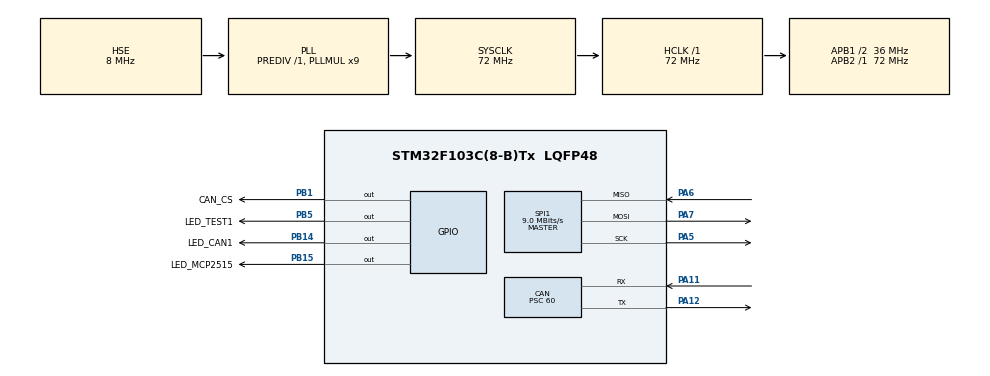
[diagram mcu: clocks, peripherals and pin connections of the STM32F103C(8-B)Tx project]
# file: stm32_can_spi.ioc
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CAN.BS1=CAN_BS1_10TQ
CAN.BS2=CAN_BS2_7TQ
CAN.CalculateTimeBit=30000
CAN.CalculateTimeQuantum=1666.6666666666667
CAN.NART=ENABLE
CAN.Prescaler=60
CAN.SJW=CAN_SJW_1TQ
Mcu.Family=STM32F1
Mcu.Name=STM32F103C(8-B)Tx
Mcu.Package=LQFP48
NVIC.CAN1_RX1_IRQn=true\:0\:0\:false\:false\:true\:true\:true
NVIC.PriorityGroup=NVIC_PRIORITYGROUP_4
PA11.Mode=Master
PA11.Signal=CAN_RX
PA12.Mode=Master
PA12.Signal=CAN_TX
PA5.Mode=Full_Duplex_Master
PA5.Signal=SPI1_SCK
PA6.Mode=Full_Duplex_Master
PA6.Signal=SPI1_MISO
PA7.Mode=Full_Duplex_Master
PA7.Signal=SPI1_MOSI
PB1.GPIO_Label=CAN_CS
PB1.GPIO_Speed=GPIO_SPEED_FREQ_MEDIUM
PB1.PinState=GPIO_PIN_SET
PB1.Signal=GPIO_Output
PB14.GPIO_Label=LED_CAN1
PB14.Signal=GPIO_Output
PB15.GPIO_Label=LED_MCP2515
PB15.Signal=GPIO_Output
PB5.GPIO_Label=LED_TEST1
PB5.Signal=GPIO_Output
PC14-OSC32_IN.Mode=LSE-External-Oscillator
PC14-OSC32_IN.Signal=RCC_OSC32_IN
PC15-OSC32_OUT.Mode=LSE-External-Oscillator
PC15-OSC32_OUT.Signal=RCC_OSC32_OUT
PD0-OSC_IN.Mode=HSE-External-Oscillator
PD0-OSC_IN.Signal=RCC_OSC_IN
PD1-OSC_OUT.Mode=HSE-External-Oscillator
PD1-OSC_OUT.Signal=RCC_OSC_OUT
ProjectManager.HeapSize=0x200
ProjectManager.StackSize=0x400
ProjectManager.TargetToolchain=Makefile
RCC.AHBFreq_Value=72000000
RCC.APB1CLKDivider=RCC_HCLK_DIV2
RCC.APB1Freq_Value=36000000
RCC.APB1TimFreq_Value=72000000
RCC.APB2Freq_Value=72000000
RCC.APB2TimFreq_Value=72000000
RCC.EnbaleCSS=true
RCC.HCLKFreq_Value=72000000
RCC.PLLMUL=RCC_PLL_MUL9
RCC.PLLSourceVirtual=RCC_PLLSOURCE_HSE
RCC.SYSCLKFreq_VALUE=72000000
RCC.SYSCLKSource=RCC_SYSCLKSOURCE_PLLCLK
RCC.USBFreq_Value=72000000
SPI1.BaudRatePrescaler=SPI_BAUDRATEPRESCALER_8
SPI1.CalculateBaudRate=9.0 MBits/s
SPI1.Direction=SPI_DIRECTION_2LINES
SPI1.Mode=SPI_MODE_MASTER
SPI1.VirtualType=VM_MASTER
VP_SYS_VS_ND.Mode=No_Debug
board=custom

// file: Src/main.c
/* USER CODE BEGIN Header */
/**
  ******************************************************************************
  * @file           : main.c
  * @brief          : Main program body
  ******************************************************************************
  * @attention
  *
  * <h2><center>&copy; Copyright (c) 2020 STMicroelectronics.
  * All rights reserved.</center></h2>
  *
  * This software component is licensed by ST under BSD 3-Clause license,
  * the "License"; You may not use this file except in compliance with the
  * License. You may obtain a copy of the License at:
  *                        opensource.org/licenses/BSD-3-Clause
  *
  ******************************************************************************
  */
/* USER CODE END Header */

#include "main.h"

/* USER CODE BEGIN Includes */
#include "CANSPI.h"
/* USER CODE END Includes */

CAN_HandleTypeDef hcan;

SPI_HandleTypeDef hspi1;

/* USER CODE BEGIN PV */
uCAN_MSG txMessage;
uCAN_MSG rxMessage;

CAN_TxHeaderTypeDef TxHeader;
CAN_RxHeaderTypeDef RxHeader;
uint8_t             TxData[8];
uint8_t             RxData[8];
uint32_t            TxMailbox;
uint32_t            RcvData = 0;
uint32_t            td = 0x67;
uint8_t             ERR = 0;

uint8_t Can_TxMessage(uint8_t ide,uint32_t id,uint8_t len,uint8_t *data);
/* USER CODE END PV */

void SystemClock_Config(void);
static void MX_GPIO_Init(void);
static void MX_CAN_Init(void);
static void MX_SPI1_Init(void);

int main(void)
{
  /* USER CODE BEGIN 1 */
  uint8_t data[8]={1,2,3,4,5,6,7,8};//Define the send array
  /* USER CODE END 1 */

  /* MCU Configuration--------------------------------------------------------*/

  /* Reset of all peripherals, Initializes the Flash interface and the Systick. */
  HAL_Init();

  /* Configure the system clock */
  SystemClock_Config();

  /* Initialize all configured peripherals */
  MX_GPIO_Init();
  MX_CAN_Init();
  MX_SPI1_Init();
  /* USER CODE BEGIN 2 */

  CANSPI_Initialize();
  /* USER CODE END 2 */

  /* Infinite loop */
  while (1)
  {

    /* USER CODE BEGIN 3 */
    if(CANSPI_Receive(&rxMessage))
    {
      txMessage.frame.idType = rxMessage.frame.idType;
      txMessage.frame.id = rxMessage.frame.id;
      txMessage.frame.dlc = rxMessage.frame.dlc;
      txMessage.frame.data0++;
      txMessage.frame.data1 = rxMessage.frame.data1;
      txMessage.frame.data2 = rxMessage.frame.data2;
      txMessage.frame.data3 = rxMessage.frame.data3;
      txMessage.frame.data4 = rxMessage.frame.data4;
      txMessage.frame.data5 = rxMessage.frame.data5;
      txMessage.frame.data6 = rxMessage.frame.data6;
      txMessage.frame.data7 = rxMessage.frame.data7;
      CANSPI_Transmit(&txMessage);
    }

    txMessage.frame.idType = dSTANDARD_CAN_MSG_ID_2_0B;
    txMessage.frame.id = 0x0A;
    txMessage.frame.dlc = 8;
    txMessage.frame.data0 = 0;
    txMessage.frame.data1 = 1;
    txMessage.frame.data2 = 2;
    txMessage.frame.data3 = 3;
    txMessage.frame.data4 = 4;
    txMessage.frame.data5 = 5;
    txMessage.frame.data6 = 6;
    txMessage.frame.data7 = 7;
    CANSPI_Transmit(&txMessage);

    if (HAL_CAN_GetRxFifoFillLevel(&hcan, CAN_RX_FIFO0) != 1)
    {
        /* Reception Missing */
        Error_Handler();
    }

    if (HAL_CAN_GetRxMessage(&hcan, CAN_RX_FIFO0, &RxHeader, RxData) != HAL_OK)
    {
        /* Reception Error */
        Error_Handler();
    }

    if (RxHeader.StdId == 0x222)
        RcvData  = ((RxData[1]<<8) | RxData[0]);

    Can_TxMessage(0,0x222,8,data);

    HAL_Delay(1000);

    HAL_GPIO_TogglePin(LED_TEST1_GPIO_Port,LED_TEST1_Pin);

  }
  /* USER CODE END 3 */
}

void SystemClock_Config(void)
{
  RCC_OscInitTypeDef RCC_OscInitStruct = {0};
  RCC_ClkInitTypeDef RCC_ClkInitStruct = {0};

  /** Initializes the CPU, AHB and APB busses clocks
  */
  RCC_OscInitStruct.OscillatorType = RCC_OSCILLATORTYPE_HSE;
  RCC_OscInitStruct.HSEState = RCC_HSE_ON;
  RCC_OscInitStruct.HSEPredivValue = RCC_HSE_PREDIV_DIV1;
  RCC_OscInitStruct.HSIState = RCC_HSI_ON;
  RCC_OscInitStruct.PLL.PLLState = RCC_PLL_ON;
  RCC_OscInitStruct.PLL.PLLSource = RCC_PLLSOURCE_HSE;
  RCC_OscInitStruct.PLL.PLLMUL = RCC_PLL_MUL9;
  if (HAL_RCC_OscConfig(&RCC_OscInitStruct) != HAL_OK)
  {
    Error_Handler();
  }
  /** Initializes the CPU, AHB and APB busses clocks
  */
  RCC_ClkInitStruct.ClockType = RCC_CLOCKTYPE_HCLK|RCC_CLOCKTYPE_SYSCLK
                              |RCC_CLOCKTYPE_PCLK1|RCC_CLOCKTYPE_PCLK2;
  RCC_ClkInitStruct.SYSCLKSource = RCC_SYSCLKSOURCE_PLLCLK;
  RCC_ClkInitStruct.AHBCLKDivider = RCC_SYSCLK_DIV1;
  RCC_ClkInitStruct.APB1CLKDivider = RCC_HCLK_DIV2;
  RCC_ClkInitStruct.APB2CLKDivider = RCC_HCLK_DIV1;

  if (HAL_RCC_ClockConfig(&RCC_ClkInitStruct, FLASH_LATENCY_2) != HAL_OK)
  {
    Error_Handler();
  }
  /** Enables the Clock Security System
  */
  HAL_RCC_EnableCSS();
}

static void MX_CAN_Init(void)
{

  /* USER CODE BEGIN CAN_Init 1 */
  //CAN_InitStructure.CAN_Mode = CAN_Mode_Silent_LoopBack;
  // APB1 у нас работает на частоте 36МГц,
  //Рекомендуется принимать следующие значения таймингов
  //BaudRate= 1000  BRP=  4  SJW = 1  BS1= 4 BS2= 4
  //BaudRate= 500   BRP=  9  SJW = 1  BS1= 3 BS2= 4
  //BaudRate= 250   BRP= 16  SJW = 1  BS1= 4 BS2= 4
  //BaudRate= 125   BRP= 32  SJW = 1  BS1= 4 BS2= 4
//нам тут надо на 250
  /* USER CODE END CAN_Init 1 */
  hcan.Instance = CAN1;
  hcan.Init.Prescaler = 60;
  hcan.Init.Mode = CAN_MODE_NORMAL;
  hcan.Init.SyncJumpWidth = CAN_SJW_1TQ;
  hcan.Init.TimeSeg1 = CAN_BS1_10TQ;
  hcan.Init.TimeSeg2 = CAN_BS2_7TQ;
  hcan.Init.TimeTriggeredMode = DISABLE;
  hcan.Init.AutoBusOff = DISABLE;
  hcan.Init.AutoWakeUp = DISABLE;
  hcan.Init.AutoRetransmission = ENABLE;
  hcan.Init.ReceiveFifoLocked = DISABLE;
  hcan.Init.TransmitFifoPriority = DISABLE;
  if (HAL_CAN_Init(&hcan) != HAL_OK)
  {
    Error_Handler();
  }

}

static void MX_SPI1_Init(void)
{

  /* SPI1 parameter configuration*/
  hspi1.Instance = SPI1;
  hspi1.Init.Mode = SPI_MODE_MASTER;
  hspi1.Init.Direction = SPI_DIRECTION_2LINES;
  hspi1.Init.DataSize = SPI_DATASIZE_8BIT;
  hspi1.Init.CLKPolarity = SPI_POLARITY_LOW;
  hspi1.Init.CLKPhase = SPI_PHASE_1EDGE;
  hspi1.Init.NSS = SPI_NSS_SOFT;
  hspi1.Init.BaudRatePrescaler = SPI_BAUDRATEPRESCALER_8;
  hspi1.Init.FirstBit = SPI_FIRSTBIT_MSB;
  hspi1.Init.TIMode = SPI_TIMODE_DISABLE;
  hspi1.Init.CRCCalculation = SPI_CRCCALCULATION_DISABLE;
  hspi1.Init.CRCPolynomial = 10;
  if (HAL_SPI_Init(&hspi1) != HAL_OK)
  {
    Error_Handler();
  }

}

static void MX_GPIO_Init(void)
{
  GPIO_InitTypeDef GPIO_InitStruct = {0};

  /* GPIO Ports Clock Enable */
  __HAL_RCC_GPIOC_CLK_ENABLE();
  __HAL_RCC_GPIOD_CLK_ENABLE();
  __HAL_RCC_GPIOA_CLK_ENABLE();
  __HAL_RCC_GPIOB_CLK_ENABLE();

  /*Configure GPIO pin Output Level */
  HAL_GPIO_WritePin(CAN_CS_GPIO_Port, CAN_CS_Pin, GPIO_PIN_SET);

  /*Configure GPIO pin Output Level */
  HAL_GPIO_WritePin(GPIOB, LED_CAN1_Pin|LED_MCP2515_Pin|LED_TEST1_Pin, GPIO_PIN_RESET);

  /*Configure GPIO pin : CAN_CS_Pin */
  GPIO_InitStruct.Pin = CAN_CS_Pin;
  GPIO_InitStruct.Mode = GPIO_MODE_OUTPUT_PP;
  GPIO_InitStruct.Pull = GPIO_NOPULL;
  GPIO_InitStruct.Speed = GPIO_SPEED_FREQ_MEDIUM;
  HAL_GPIO_Init(CAN_CS_GPIO_Port, &GPIO_InitStruct);

  /*Configure GPIO pins : LED_CAN1_Pin LED_MCP2515_Pin LED_TEST1_Pin */
  GPIO_InitStruct.Pin = LED_CAN1_Pin|LED_MCP2515_Pin|LED_TEST1_Pin;
  GPIO_InitStruct.Mode = GPIO_MODE_OUTPUT_PP;
  GPIO_InitStruct.Pull = GPIO_NOPULL;
  GPIO_InitStruct.Speed = GPIO_SPEED_FREQ_LOW;
  HAL_GPIO_Init(GPIOB, &GPIO_InitStruct);

}

/* USER CODE BEGIN 4 */
//---------------------------------------------------------------

//---------------------------------------------------------------
/***********************************************
Function: Can send data
 Entry parameters:
       Ide: 0: standard frame
           1: extended frame
       Id: frame ID
       Len: data length
       Data: data
 Return value: 0: Success. 1: failure
************************************************/
uint8_t Can_TxMessage(uint8_t ide,uint32_t id,uint8_t len,uint8_t *data)
{
    uint32_t   TxMailbox;
    CAN_TxHeaderTypeDef CAN_TxHeader;
    HAL_StatusTypeDef   HAL_RetVal;
    uint16_t i=0;
    if(ide == 0)
    {
        CAN_TxHeader.IDE = CAN_ID_STD; //Standard frame
        CAN_TxHeader.StdId = id;
    }
    else
    {
        CAN_TxHeader.IDE = CAN_ID_EXT; //Extended frame
        CAN_TxHeader.ExtId = id;
    }
    CAN_TxHeader.DLC = len;
    CAN_TxHeader.RTR = CAN_RTR_DATA; // data frame, CAN_RTR_REMOTE remote control frame
    CAN_TxHeader.TransmitGlobalTime = DISABLE;

    while(HAL_CAN_GetTxMailboxesFreeLevel(&hcan) == 0)
    {
      i++;
      if(i>0xfffe)
        return 1;
    }
    HAL_Delay(500);
    HAL_RetVal = HAL_CAN_AddTxMessage(&hcan,&CAN_TxHeader,data,&TxMailbox);
    if(HAL_RetVal != HAL_OK)
      return 1;
    return 0;
}
/* USER CODE END 4 */

void Error_Handler(void)
{
}

/************************ (C) COPYRIGHT STMicroelectronics *****END OF FILE****/
